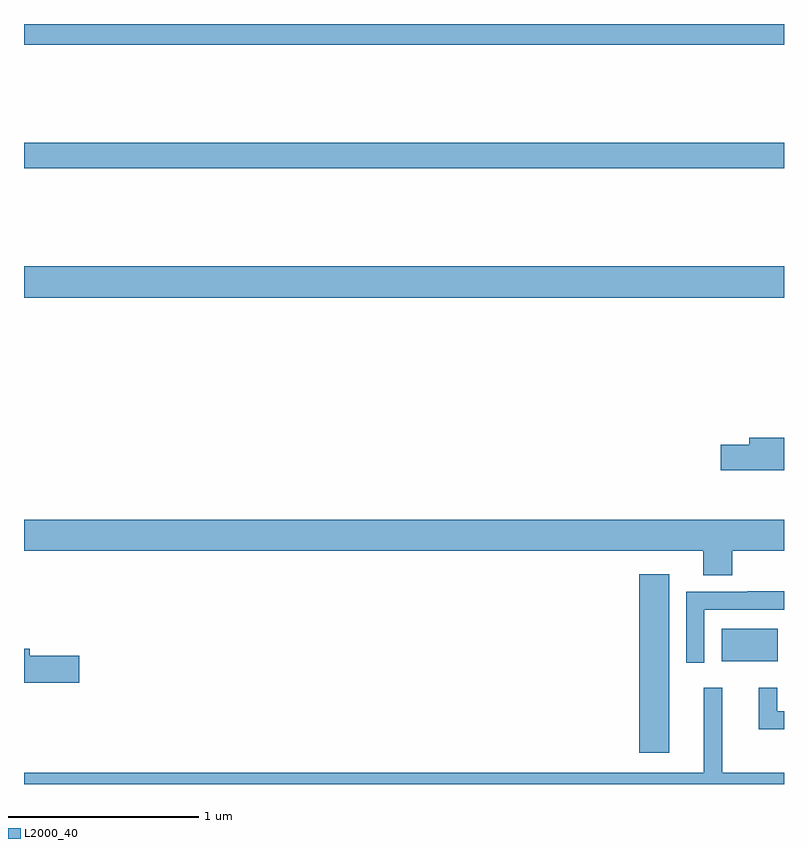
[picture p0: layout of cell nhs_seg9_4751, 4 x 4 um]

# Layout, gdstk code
import gdstk
lib = gdstk.Library(unit=1e-6, precision=1e-09)
def R(c, l, rs):  # rectangles x0, y0, x1, y1
    for r in rs: c.add(gdstk.rectangle(r[:2], r[2:], *l))
def P(c, l, *ps):  # polygons
    for p in ps: c.add(gdstk.Polygon(p, *l))
L2000_40 = (2000, 40)

nhs_seg9_4751 = lib.new_cell('nhs_seg9_4751')
R(nhs_seg9_4751, L2000_40, [(388.238,1220.664,388.396,1221.604), (388.673,1221.146,388.966,1221.316), (385,1223.06,389,1223.224), (385,1223.74,389,1223.876), (385,1224.392,389,1224.5)])
P(nhs_seg9_4751, L2000_40, [(389,1222.322),(388.817,1222.322),(388.817,1222.286),(388.668,1222.286),(388.668,1222.151),(389,1222.151)],
  [(388.727,1221.728),(389,1221.728),(389,1221.892),(385,1221.892),(385,1221.728),(388.574,1221.728),(388.574,1221.598),(388.727,1221.598)],
  [(388.581,1221.417),(389,1221.417),(389,1221.515),(388.81,1221.515),(388.81,1221.513),(388.485,1221.513),(388.485,1221.138),(388.581,1221.138)],
  [(385.291,1221.176),(385.03,1221.176),(385.03,1221.212),(385,1221.212),(385,1221.034),(385.291,1221.034)],
  [(389,1220.56),(388.676,1220.56),(388.676,1221.007),(388.577,1221.007),(388.577,1220.56),(385,1220.56),(385,1220.5),(389,1220.5)],
  [(389,1220.883),(388.965,1220.883),(388.965,1221.007),(388.868,1221.007),(388.868,1220.787),(389,1220.787)])

lib.write_gds('nhs_seg9_4751.gds')
